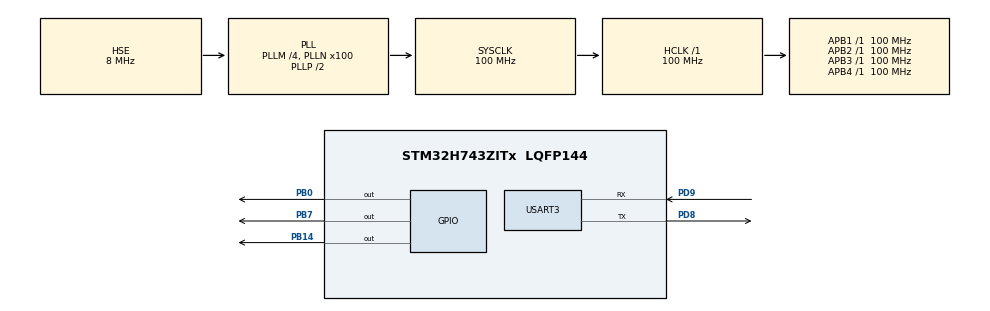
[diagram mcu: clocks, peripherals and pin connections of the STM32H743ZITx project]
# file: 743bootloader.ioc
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CORTEX_M7.CPU_ICache=Enabled
Dma.Request0=USART3_RX
Dma.Request1=USART3_TX
Dma.USART3_RX.0.Direction=DMA_PERIPH_TO_MEMORY
Dma.USART3_RX.0.EventEnable=DISABLE
Dma.USART3_RX.0.FIFOMode=DMA_FIFOMODE_DISABLE
Dma.USART3_RX.0.Instance=DMA1_Stream0
Dma.USART3_RX.0.MemDataAlignment=DMA_MDATAALIGN_BYTE
Dma.USART3_RX.0.MemInc=DMA_MINC_ENABLE
Dma.USART3_RX.0.Mode=DMA_NORMAL
Dma.USART3_RX.0.PeriphDataAlignment=DMA_PDATAALIGN_BYTE
Dma.USART3_RX.0.PeriphInc=DMA_PINC_DISABLE
Dma.USART3_RX.0.Polarity=HAL_DMAMUX_REQ_GEN_RISING
Dma.USART3_RX.0.Priority=DMA_PRIORITY_LOW
Dma.USART3_RX.0.RequestNumber=1
Dma.USART3_RX.0.SignalID=NONE
Dma.USART3_RX.0.SyncEnable=DISABLE
Dma.USART3_RX.0.SyncPolarity=HAL_DMAMUX_SYNC_NO_EVENT
Dma.USART3_RX.0.SyncRequestNumber=1
Dma.USART3_RX.0.SyncSignalID=NONE
Dma.USART3_TX.1.Direction=DMA_MEMORY_TO_PERIPH
Dma.USART3_TX.1.EventEnable=DISABLE
Dma.USART3_TX.1.FIFOMode=DMA_FIFOMODE_DISABLE
Dma.USART3_TX.1.Instance=DMA1_Stream1
Dma.USART3_TX.1.MemDataAlignment=DMA_MDATAALIGN_BYTE
Dma.USART3_TX.1.MemInc=DMA_MINC_ENABLE
Dma.USART3_TX.1.Mode=DMA_NORMAL
Dma.USART3_TX.1.PeriphDataAlignment=DMA_PDATAALIGN_BYTE
Dma.USART3_TX.1.PeriphInc=DMA_PINC_DISABLE
Dma.USART3_TX.1.Polarity=HAL_DMAMUX_REQ_GEN_RISING
Dma.USART3_TX.1.Priority=DMA_PRIORITY_LOW
Dma.USART3_TX.1.RequestNumber=1
Dma.USART3_TX.1.SignalID=NONE
Dma.USART3_TX.1.SyncEnable=DISABLE
Dma.USART3_TX.1.SyncPolarity=HAL_DMAMUX_SYNC_NO_EVENT
Dma.USART3_TX.1.SyncRequestNumber=1
Dma.USART3_TX.1.SyncSignalID=NONE
Mcu.Family=STM32H7
Mcu.Name=STM32H743ZITx
Mcu.Package=LQFP144
NVIC.DMA1_Stream0_IRQn=true\:0\:0\:false\:false\:true\:false\:true
NVIC.DMA1_Stream1_IRQn=true\:0\:0\:false\:false\:true\:false\:true
NVIC.PriorityGroup=NVIC_PRIORITYGROUP_4
NVIC.USART3_IRQn=true\:0\:0\:false\:false\:true\:true\:true
PB0.Signal=GPIO_Output
PB14.Signal=GPIO_Output
PB7.Signal=GPIO_Output
PC14-OSC32_IN\ (OSC32_IN).Mode=LSE-External-Oscillator
PC14-OSC32_IN\ (OSC32_IN).Signal=RCC_OSC32_IN
PC15-OSC32_OUT\ (OSC32_OUT).Mode=LSE-External-Oscillator
PC15-OSC32_OUT\ (OSC32_OUT).Signal=RCC_OSC32_OUT
PD8.Mode=Asynchronous
PD8.Signal=USART3_TX
PD9.Mode=Asynchronous
PD9.Signal=USART3_RX
PH0-OSC_IN\ (PH0).Mode=HSE-External-Oscillator
PH0-OSC_IN\ (PH0).Signal=RCC_OSC_IN
PH1-OSC_OUT\ (PH1).Mode=HSE-External-Oscillator
PH1-OSC_OUT\ (PH1).Signal=RCC_OSC_OUT
ProjectManager.HeapSize=0x200
ProjectManager.StackSize=0x400
ProjectManager.TargetToolchain=MDK-ARM V5
RCC.ADCFreq_Value=16125000
RCC.APB1Freq_Value=100000000
RCC.APB2Freq_Value=100000000
RCC.APB3Freq_Value=100000000
RCC.APB4Freq_Value=100000000
RCC.CortexFreq_Value=100000000
RCC.DIVM1=4
RCC.DIVN1=100
RCC.FLatency=FLASH_LATENCY_7
RCC.HCLKFreq_Value=100000000
RCC.HSE_VALUE=8000000
RCC.PLLSourceVirtual=RCC_PLLSOURCE_HSE
RCC.PWR_Regulator_Voltage_Scale=PWR_REGULATOR_VOLTAGE_SCALE1
RCC.SYSCLKFreq_VALUE=100000000
RCC.SYSCLKSource=RCC_SYSCLKSOURCE_PLLCLK
RCC.USBFreq_Value=100000000
USART3.VirtualMode-Asynchronous=VM_ASYNC
board=custom

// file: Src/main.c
/* USER CODE BEGIN Header */
/**
  ******************************************************************************
  * @file           : main.c
  * @brief          : Main program body
  ******************************************************************************
  * @attention
  *
  * <h2><center>&copy; Copyright (c) 2019 STMicroelectronics.
  * All rights reserved.</center></h2>
  *
  * This software component is licensed by ST under BSD 3-Clause license,
  * the "License"; You may not use this file except in compliance with the
  * License. You may obtain a copy of the License at:
  *                        opensource.org/licenses/BSD-3-Clause
  *
  ******************************************************************************
  */
/* USER CODE END Header */

#include "main.h"
#include "dma.h"
#include "usart.h"
#include "gpio.h"

/* USER CODE BEGIN Includes */
#include "stdio.h"
#include "string.h"
#include "led.h"

/* USER CODE END Includes */

void SystemClock_Config(void);

/* USER CODE BEGIN 0 */
//跳转到应用程序段
//appxaddr:用户代码起始地址.
	void (*jump2app)();
	typedef void (*pFunction)(void);
	 pFunction JumpToApplication;
void iap_load_app( uint32_t appxaddr)
{
//	if(((*(uint32_t*)appxaddr)&0x2FFE0000)==0x20000000)	//检查栈顶地址是否合法.
//	{
//		jump2app=(void(*)())*(uint32_t*)(appxaddr+4);		//用户代码区第二个字为程序开始地址(复位地址)
//		MSR_MSP(*(uint32_t*)appxaddr);					//初始化APP堆栈指针(用户代码区的第一个字用于存放栈顶地址)
//		for(int i = 0; i < 8; i++)
//		{
//			NVIC->ICER[i] = 0xFFFFFFFF;	/* 关闭中断*/
//			NVIC->ICPR[i] = 0xFFFFFFFF;	/* 清除中断标志位 */
//		}
//		jump2app();									//跳转到APP.
//	}
	uint32_t JumpAddress;
	  if(((*(__IO uint32_t*)appxaddr) & 0x2FFE0000) == 0x24000000)
  {
	JumpAddress = *(__IO uint32_t*)(appxaddr +4);
	JumpToApplication = (pFunction) JumpAddress;

	__set_MSP(*(__IO uint32_t*)appxaddr);
	JumpToApplication();
   }
}
/* USER CODE END 0 */

int main(void)
{

  /* Enable I-Cache---------------------------------------------------------*/
  SCB_EnableICache();

  /* MCU Configuration--------------------------------------------------------*/

  /* Reset of all peripherals, Initializes the Flash interface and the Systick. */
  HAL_Init();

  /* Configure the system clock */
  SystemClock_Config();

  /* Initialize all configured peripherals */
  MX_GPIO_Init();
  MX_DMA_Init();
  MX_USART3_UART_Init();
  /* USER CODE BEGIN 2 */
uint8_t a[]="i am bootloader\r\n";
printf(a);

LED2ON;
//copy flash to memory at 0x24040000, long size = 0x40000;
uint32_t *destion = (uint32_t *)(0x24000000+ 0x40000);
uint32_t *source =  (uint32_t *)(0x8000000 + 0x100000);

for(uint32_t size = 0;size<0x10000;size++){
*(destion +size)=*(source+size) ;

}
LED2OFF;
LED1ON;
//zhuan转移到指定代码执行          NVIC_SetVectorTable(NVIC_VectTab_FLASH,0x9800);
iap_load_app( (uint32_t)destion);
  /* USER CODE END 2 */

  /* Infinite loop */
  while (1)
  {
LED2TOG;
HAL_Delay(200);
  }
}

void SystemClock_Config(void)
{
  RCC_OscInitTypeDef RCC_OscInitStruct = {0};
  RCC_ClkInitTypeDef RCC_ClkInitStruct = {0};
  RCC_PeriphCLKInitTypeDef PeriphClkInitStruct = {0};

  /** Supply configuration update enable
  */
  MODIFY_REG(PWR->CR3, PWR_CR3_SCUEN, 0);
  /** Configure the main internal regulator output voltage
  */
  __HAL_PWR_VOLTAGESCALING_CONFIG(PWR_REGULATOR_VOLTAGE_SCALE1);

  while ((PWR->D3CR & (PWR_D3CR_VOSRDY)) != PWR_D3CR_VOSRDY)
  {

  }
  /** Initializes the CPU, AHB and APB busses clocks
  */
  RCC_OscInitStruct.OscillatorType = RCC_OSCILLATORTYPE_HSE;
  RCC_OscInitStruct.HSEState = RCC_HSE_ON;
  RCC_OscInitStruct.PLL.PLLState = RCC_PLL_ON;
  RCC_OscInitStruct.PLL.PLLSource = RCC_PLLSOURCE_HSE;
  RCC_OscInitStruct.PLL.PLLM = 4;
  RCC_OscInitStruct.PLL.PLLN = 100;
  RCC_OscInitStruct.PLL.PLLP = 2;
  RCC_OscInitStruct.PLL.PLLQ = 2;
  RCC_OscInitStruct.PLL.PLLR = 2;
  RCC_OscInitStruct.PLL.PLLRGE = RCC_PLL1VCIRANGE_1;
  RCC_OscInitStruct.PLL.PLLVCOSEL = RCC_PLL1VCOWIDE;
  RCC_OscInitStruct.PLL.PLLFRACN = 0;
  if (HAL_RCC_OscConfig(&RCC_OscInitStruct) != HAL_OK)
  {
    Error_Handler();
  }
  /** Initializes the CPU, AHB and APB busses clocks
  */
  RCC_ClkInitStruct.ClockType = RCC_CLOCKTYPE_HCLK|RCC_CLOCKTYPE_SYSCLK
                              |RCC_CLOCKTYPE_PCLK1|RCC_CLOCKTYPE_PCLK2
                              |RCC_CLOCKTYPE_D3PCLK1|RCC_CLOCKTYPE_D1PCLK1;
  RCC_ClkInitStruct.SYSCLKSource = RCC_SYSCLKSOURCE_PLLCLK;
  RCC_ClkInitStruct.SYSCLKDivider = RCC_SYSCLK_DIV1;
  RCC_ClkInitStruct.AHBCLKDivider = RCC_HCLK_DIV1;
  RCC_ClkInitStruct.APB3CLKDivider = RCC_APB3_DIV1;
  RCC_ClkInitStruct.APB1CLKDivider = RCC_APB1_DIV1;
  RCC_ClkInitStruct.APB2CLKDivider = RCC_APB2_DIV1;
  RCC_ClkInitStruct.APB4CLKDivider = RCC_APB4_DIV1;

  if (HAL_RCC_ClockConfig(&RCC_ClkInitStruct, FLASH_LATENCY_7) != HAL_OK)
  {
    Error_Handler();
  }
  PeriphClkInitStruct.PeriphClockSelection = RCC_PERIPHCLK_USART3;
  PeriphClkInitStruct.Usart234578ClockSelection = RCC_USART234578CLKSOURCE_D2PCLK1;
  if (HAL_RCCEx_PeriphCLKConfig(&PeriphClkInitStruct) != HAL_OK)
  {
    Error_Handler();
  }
}

void Error_Handler(void)
{
}

/************************ (C) COPYRIGHT STMicroelectronics *****END OF FILE****/
